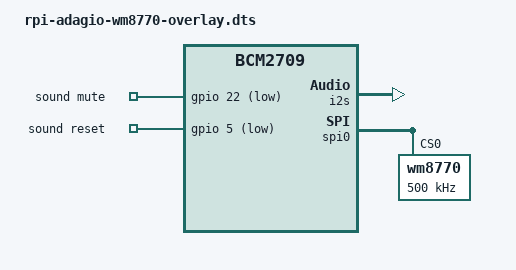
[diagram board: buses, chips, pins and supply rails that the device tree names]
// Definitions for the Cirrus Logic Audio Card
/dts-v1/;
/plugin/;
#include <dt-bindings/pinctrl/bcm2835.h>
#include <dt-bindings/gpio/gpio.h>

/ {
	compatible = "brcm,bcm2835", "brcm,bcm2708", "brcm,bcm2709";

	fragment@0 {
		target = <&i2s>;
		__overlay__ {
			status = "okay";
		};
	};

	fragment@1 {
		target = <&sound>;
		__overlay__ {
			compatible = "rpi-adagioconnect";
			status = "okay";

			mute-gpios = <&gpio 22 GPIO_ACTIVE_LOW>;
			reset-gpios = <&gpio 5 GPIO_ACTIVE_LOW>;
		};
	};

	fragment@2 {
		target = <&spi0>;
		__overlay__ {
			#address-cells = <1>;
			#size-cells = <0>;
			status = "okay";

			spidev@0{
				status = "disabled";
			};

			spidev@1{
				status = "disabled";
			};

			wm8770@0{
				compatible = "wm8770";
				reg = <0>;			/* CE0 */

				spi-max-frequency = <500000>;

				status = "okay";
			};
		};
	};
};
